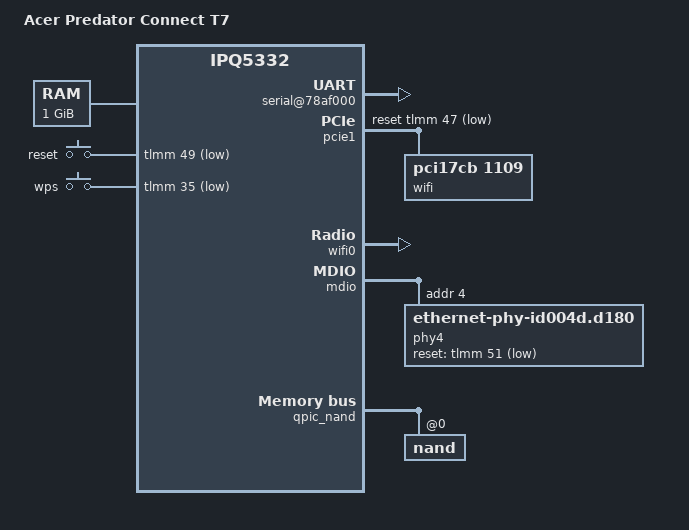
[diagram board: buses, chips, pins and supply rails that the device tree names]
/dts-v1/;

/*
 * Device Tree Source para Acer Predator Connect T7 (Placa Qualcomm AP-MI01.6)
 * Alvo: ImmortalWrt Qualcommax / Linux 6.6 LTS AArch64 (ARM64 Nativo)
 * Memória RAM: 1.0 GB DDR4 Físico (Sem restrição MP_512)
 * Armazenamento: SPI NAND 512 MB QPIC (Slot B / rootfs_1)
 */

/ {
	model = "Acer Predator Connect T7";
	compatible = "acer,predator-t7", "qcom,ipq5332-ap-mi01.6", "qcom,ipq5332";
	#address-cells = <2>;
	#size-cells = <2>;

	aliases {
		serial0 = "/soc/serial@78af000";
		ethernet0 = "/soc/ess-instance/port@2"; /* WAN 2.5G */
		ethernet1 = "/soc/ess-instance/port@1"; /* LAN Game Port */
	};

	chosen {
		bootargs = "console=ttyMSM0,115200n8 ubi.mtd=rootfs_1 root=mtd:ubi_rootfs rootfstype=squashfs rootwait";
		stdout-path = "/soc/serial@78af000:115200n8";
	};

	memory@40000000 {
		device_type = "memory";
		/* 1.0 GB DDR4 Físico do Acer T7: Base 0x40000000, Tamanho 1024 MB (0x40000000) */
		reg = <0x0 0x40000000 0x0 0x40000000>;
	};

	reserved-memory {
		#address-cells = <2>;
		#size-cells = <2>;
		ranges;

		/* Região reservada para SBL1 e SMEM */
		smem@4a800000 {
			reg = <0x0 0x4a800000 0x0 0x00100000>;
			no-map;
		};

		/* Região reservada para TrustZone / QSEE */
		qsee@4b000000 {
			reg = <0x0 0x4b000000 0x0 0x03800000>;
			no-map;
		};

		/* Buffer DMA Contíguo para o coprocessador Wi-Fi 7 QCN9224 */
		qcn9224_cma: qcn9224-cma@78000000 {
			compatible = "shared-dma-pool";
			reg = <0x0 0x78000000 0x0 0x07000000>;
			reusable;
		};
	};

	keys {
		compatible = "gpio-keys";

		reset-button {
			label = "reset";
			linux,code = <0x198>; /* KEY_RESTART */
			gpios = <&tlmm 49 1>; /* GPIO 49, Active Low */
			debounce-interval = <60>;
		};

		wps-button {
			label = "wps";
			linux,code = <0x211>; /* KEY_WPS_BUTTON */
			gpios = <&tlmm 35 1>; /* GPIO 35, Active Low */
			debounce-interval = <60>;
		};
	};

	soc: soc {
		#address-cells = <1>;
		#size-cells = <1>;
		ranges = <0x0 0x0 0x0 0xffffffff>;
		compatible = "simple-bus";

		tlmm: pinctrl@1000000 {
			compatible = "qcom,ipq5332-pinctrl";
			reg = <0x01000000 0x300000>;
			gpio-controller;
			#gpio-cells = <2>;
			interrupt-controller;
			#interrupt-cells = <2>;
		};

		serial@78af000 {
			compatible = "qcom,msm-uart";
			reg = <0x078af000 0x200>;
			interrupts = <0 107 4>;
			clocks = <&gcc 21>, <&gcc 10>;
			clock-names = "core", "iface";
			status = "okay";
		};

		gcc: clock-controller@1800000 {
			compatible = "qcom,ipq5332-gcc";
			reg = <0x01800000 0x80000>;
			#clock-cells = <1>;
			#reset-cells = <1>;
		};

		/* Controlador de Barramento PCIe para o Rádio QCN9224 (Wi-Fi 7 5G/6G) */
		pcie1: pci@18000000 {
			compatible = "qcom,pcie-ipq5332";
			reg = <0x18000000 0xf1d>,
			      <0x18000f20 0xa8>,
			      <0x004b0000 0x2000>,
			      <0x18100000 0x1000>;
			reg-names = "dbi", "elbi", "parf", "config";
			device_type = "pci";
			#address-cells = <3>;
			#size-cells = <2>;
			ranges = <0x81000000 0 0x18100000 0x18100000 0 0x100000>,
			         <0x82000000 0 0x18200000 0x18200000 0 0x0e00000>;
			bus-range = <0x00 0xff>;
			status = "okay";

			reset-gpios = <&tlmm 47 1>; /* PERST GPIO 47, Active Low */
			wake-gpios = <&tlmm 48 1>;  /* WAKE GPIO 48, Active Low */

			wifi@1,0 {
				compatible = "pci17cb,1109";
				reg = <0x00010000 0 0 0 0>;
				qcom,ath12k-board-id = <4117>; /* 0x1015 = bdwlan.b1015 */
				memory-region = <&qcn9224_cma>;
			};
		};

		/* Rádio Integrado 2.4 GHz do SoC IPQ5332 */
		wifi0: wifi@c000000 {
			compatible = "qcom,ipq5332-wifi";
			reg = <0x0c000000 0x1000000>;
			status = "okay";
		};

		/* Motor de Aceleração de Pacotes (PPE) e Switch Integrado */
		qcom_ppe: ess-instance {
			compatible = "qcom,ess-instance";
			status = "okay";

			/* Porta 1: LAN Gigabit / Game Port (NSS-DP) */
			port@1 {
				reg = <1>;
				label = "lan";
				phy-mode = "2500basex";
				status = "okay";
			};

			/* Porta 2: WAN 2.5 Gbps (PHY Externo MaxLinear/Qualcomm) */
			port@2 {
				reg = <2>;
				label = "wan";
				phy-mode = "2500basex";
				phy-handle = <&phy4>;
				status = "okay";
			};
		};

		/* Controlador MDIO para Gerenciamento do PHY WAN 2.5G */
		mdio: mdio@90000 {
			compatible = "qcom,ipq5332-mdio";
			reg = <0x00090000 0x1000>;
			#address-cells = <1>;
			#size-cells = <0>;
			status = "okay";

			phy4: ethernet-phy@4 {
				compatible = "ethernet-phy-id004d.d180";
				reg = <4>;
				reset-gpios = <&tlmm 51 1>; /* Reset do PHY 2.5G no GPIO 51 */
			};
		};

		/* Controlador de Flash SPI-NAND (QPIC) */
		qpic_nand: nand-controller@79b0000 {
			compatible = "qcom,ipq5332-qpic-nand";
			reg = <0x079b0000 0x10000>;
			#address-cells = <1>;
			#size-cells = <0>;
			status = "okay";

			nand@0 {
				reg = <0>;
				nand-ecc-strength = <8>;
				nand-ecc-step-size = <512>;
				nand-bus-width = <8>;
			};
		};
	};
};
